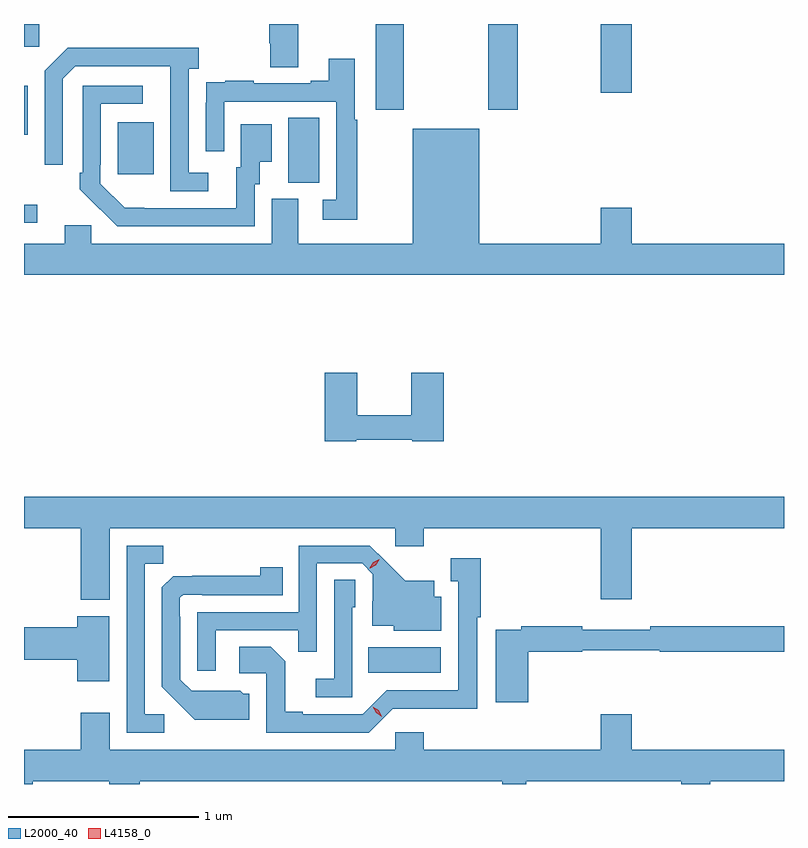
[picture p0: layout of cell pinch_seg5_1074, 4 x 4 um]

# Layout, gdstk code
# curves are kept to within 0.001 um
import gdstk
lib = gdstk.Library(unit=1e-6, precision=1e-09)
def R(c, l, rs):  # rectangles x0, y0, x1, y1
    for r in rs: c.add(gdstk.rectangle(r[:2], r[2:], *l))
def P(c, l, *ps):  # polygons
    for p in ps: c.add(gdstk.Polygon(p, *l))
L2000_40 = (2000, 40)
L4158_0 = (4158, 0)

pinch_seg5_1074 = lib.new_cell('pinch_seg5_1074')
R(pinch_seg5_1074, L2000_40, [(775.174,873.314,775.555,873.448), (773.361,875.682,773.431,875.779), (774.752,875.893,774.916,876.236), (773.855,875.937,774.043,876.211), (773.361,876.146,773.38,876.403), (775.211,876.279,775.359,876.729), (775.804,876.279,775.959,876.729), (776.396,876.366,776.56,876.729), (773.361,876.609,773.442,876.729)])
P(pinch_seg5_1074, L2000_40, [(774.805,876.729),(774.653,876.729),(774.653,876.627),(774.658,876.627),(774.658,876.502),(774.805,876.502)],
  [(774.331,875.946),(774.228,875.946),(774.228,876.494),(774.28,876.494),(774.28,876.604),(773.59,876.604),(773.469,876.483),(773.469,875.988),(773.565,875.988),(773.565,876.441),(773.631,876.507),(774.131,876.507),(774.132,875.85),(774.331,875.85)],
  [(775.114,876.224),(775.101,876.224),(775.101,876.547),(774.965,876.547),(774.965,876.43),(774.869,876.43),(774.869,876.417),(774.569,876.417),(774.569,876.43),(774.421,876.43),(774.421,876.423),(774.319,876.423),(774.319,876.314),(774.318,876.314),(774.318,876.06),(774.414,876.06),(774.414,876.321),(775.005,876.321),(775.005,875.805),(774.933,875.805),(774.933,875.7),(775.114,875.7)],
  [(774.576,875.886),(774.601,875.886),(774.601,876.005),(774.664,876.005),(774.664,876.202),(774.503,876.202),(774.503,875.976),(774.479,875.976),(774.479,875.76),(773.892,875.761),(773.763,875.889),(773.763,875.989),(773.766,875.989),(773.766,876.309),(773.986,876.309),(773.986,876.405),(773.67,876.405),(773.67,875.947),(773.655,875.947),(773.655,875.859),(773.852,875.664),(774.576,875.664)],
  [(777.361,875.572),(776.56,875.572),(776.56,875.761),(776.396,875.761),(776.396,875.572),(775.756,875.572),(775.756,876.178),(775.406,876.178),(775.406,875.572),(774.805,875.572),(774.805,875.808),(774.665,875.808),(774.665,875.572),(773.715,875.572),(773.715,875.67),(773.576,875.67),(773.576,875.572),(773.361,875.572),(773.361,875.408),(777.361,875.408)],
  [(775.11,874.542),(775.404,874.542),(775.404,874.534),(775.571,874.534),(775.571,874.894),(775.4,874.894),(775.4,874.67),(775.114,874.67),(775.114,874.894),(774.944,874.894),(774.944,874.534),(775.11,874.534)],
  [(773.812,874.076),(775.314,874.076),(775.314,873.981),(775.466,873.981),(775.466,874.076),(776.396,874.076),(776.396,873.702),(776.56,873.702),(776.56,874.076),(777.361,874.076),(777.361,874.24),(773.361,874.24),(773.361,874.076),(773.66,874.076),(773.66,873.698),(773.812,873.698)],
  [(774.1,873.096),(773.997,873.096),(773.997,873.889),(774.093,873.889),(774.093,873.984),(773.901,873.984),(773.901,873),(774.1,873)],
  [(774.369,873.537),(774.805,873.537),(774.805,873.424),(774.903,873.424),(774.903,873.891),(775.14,873.891),(775.197,873.834),(775.197,873.692),(775.193,873.692),(775.193,873.563),(775.308,873.563),(775.308,873.536),(775.558,873.536),(775.558,873.715),(775.519,873.715),(775.519,873.799),(775.367,873.799),(775.18,873.984),(774.807,873.984),(774.807,873.633),(774.273,873.633),(774.273,873.324),(774.369,873.324)],
  [(775.302,873.126),(775.747,873.125),(775.747,873.607),(775.765,873.607),(775.765,873.916),(775.607,873.916),(775.607,873.795),(775.646,873.795),(775.646,873.222),(775.269,873.222),(775.143,873.096),(774.829,873.096),(774.829,873.109),(774.735,873.109),(774.735,873.376),(774.659,873.452),(774.495,873.452),(774.495,873.312),(774.636,873.312),(774.636,873),(775.176,873)],
  [(774.547,873.204),(774.516,873.204),(774.5,873.22),(774.243,873.219),(774.183,873.279),(774.183,873.608),(774.18,873.608),(774.18,873.708),(774.198,873.726),(774.298,873.726),(774.298,873.723),(774.722,873.723),(774.722,873.871),(774.604,873.871),(774.604,873.824),(774.146,873.823),(774.087,873.764),(774.087,873.242),(774.259,873.068),(774.547,873.068)],
  [(775.089,873.66),(775.104,873.66),(775.104,873.803),(774.993,873.803),(774.993,873.283),(774.897,873.283),(774.897,873.186),(775.089,873.186)],
  [(773.809,873.613),(773.642,873.613),(773.642,873.554),(773.361,873.554),(773.361,873.382),(773.642,873.382),(773.642,873.27),(773.809,873.27)],
  [(776.015,873.424),(776.298,873.424),(776.298,873.432),(776.708,873.432),(776.708,873.424),(777.361,873.424),(777.361,873.56),(776.656,873.56),(776.656,873.541),(776.3,873.541),(776.3,873.56),(775.978,873.56),(775.978,873.54),(775.844,873.54),(775.844,873.159),(776.015,873.159)],
  [(773.809,872.729),(773.969,872.729),(773.969,872.744),(775.878,872.744),(775.878,872.729),(776.005,872.729),(776.005,872.744),(776.819,872.744),(776.819,872.729),(776.972,872.729),(776.972,872.744),(777.361,872.744),(777.361,872.908),(776.56,872.908),(776.56,873.097),(776.396,873.097),(776.396,872.908),(775.466,872.908),(775.466,873.001),(775.314,873.001),(775.314,872.908),(773.812,872.908),(773.812,873.103),(773.66,873.103),(773.66,872.908),(773.361,872.908),(773.361,872.729),(773.407,872.729),(773.407,872.744),(773.809,872.744)])
P(pinch_seg5_1074, L4158_0, [(775.182,873.865),(775.182,873.866),(775.199,873.895),(775.23,873.911),(775.23,873.911),(775.23,873.91),(775.213,873.881),(775.183,873.865)],
  [(775.245,873.084),(775.214,873.103),(775.196,873.136),(775.196,873.136),(775.197,873.136),(775.228,873.117),(775.245,873.084),(775.245,873.084)])

lib.write_gds('pinch_seg5_1074.gds')
